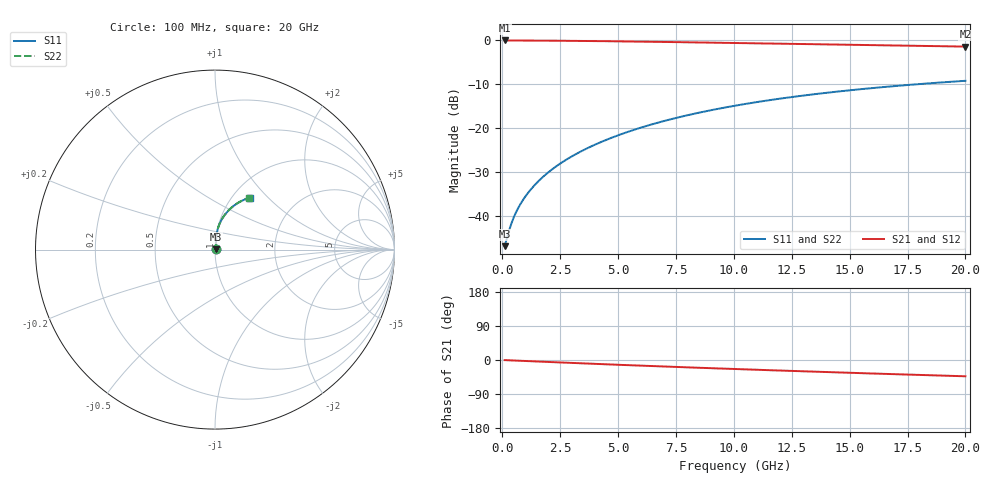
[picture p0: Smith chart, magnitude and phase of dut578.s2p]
! Touchstone file exported from HFSS 2024.1.0
!  File:  C:/UserFiles/LocalFiles/RDL_TSV_Batchsim/temp_RDL_top_578_1779681977.aedt
!  Generated:  12:08:36 PM May 25, 2026
!  Design:  RDL_top
!  Project:  temp_RDL_top_578_1779681977
!  Setup:  Setup1
!  Solution:  Sweep
! Variables:
!  dtsv = 10.80580581um
!  hbump = 3um
!  htsv = 51.75um
!  ldown = 100um
!  lrdl = 647.53um
!  p = 40
!  p1 = 44.67um
!  rhole = 1um
!  t = 450um
!  tdown = 3.915915916um
!  trdl = 2.45um
!  wdown = 15.38538539um
!  wrdl = 23.91um
# GHz S MA R 50.000000
! Terminal data exported
! Port[1] = Box2_T1
! Port[2] = Box2_T2
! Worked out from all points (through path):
!   200 points, 100 MHz to 20 GHz, reference 50 ohm
!   highest |S21| = -0.04 dB at 100 MHz (marker M1); lowest = -1.4 dB at 20 GHz (marker M2)
!   group delay of S21, straight-line fit = 5.92 ps
!   lowest |S11| = -46.8 dB at 100 MHz (marker M3), VSWR 1.01, Z = 50.4 + j0.185 ohm
!   |S11| at or under -10 dB: start of sweep to 17.88 GHz
!   |S22| runs from -46.8 to -9.2 dB; largest |S21 - S12| = 4.5e-15
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0.1  0.004581 23.6  0.9958 -0.3  0.9958 -0.3  0.004581 23.6
! Gamma 0 0 0 0
! Port Impedance 50 0 50 0
0.3  0.006989 49.3  0.9953 -0.8  0.9953 -0.8  0.006989 49.3
0.4  0.008394 55.5  0.9951 -1.1  0.9951 -1.1  0.008394 55.5
0.6  0.01121 63.0  0.9945 -1.6  0.9945 -1.6  0.01121 63.0
0.7  0.01261 65.6  0.9943 -1.9  0.9943 -1.9  0.01261 65.6
0.9  0.01544 69.6  0.9937 -2.4  0.9937 -2.4  0.01544 69.6
1.2  0.01975 73.8  0.993 -3.2  0.993 -3.2  0.01975 73.8
1.4  0.02269 75.9  0.9924 -3.7  0.9924 -3.7  0.02269 75.9
1.7  0.0272 78.2  0.9914 -4.4  0.9914 -4.4  0.0272 78.2
2.2  0.03496 80.8  0.9895 -5.7  0.9895 -5.7  0.03496 80.8
2.8  0.04464 82.7  0.9868 -7.2  0.9868 -7.2  0.04465 82.7
3.5  0.05643 83.8  0.983 -9.0  0.983 -9.0  0.05645 83.9
4.2  0.06871 84.2  0.9786 -10.7  0.9786 -10.7  0.06874 84.3
5  0.08326 84.1  0.9731 -12.6  0.9731 -12.6  0.08331 84.1
5.9  0.1002 83.4  0.9663 -14.7  0.9663 -14.7  0.1002 83.4
6.8  0.1175 82.3  0.9592 -16.8  0.9592 -16.8  0.1176 82.3
8.4  0.1487 79.7  0.946 -20.3  0.946 -20.3  0.1488 79.7
10.1  0.1816 76.4  0.9316 -23.9  0.9316 -23.9  0.1818 76.4
11.7  0.2119 73.1  0.9179 -27.2  0.9179 -27.2  0.2121 73.1
13.4  0.2428 69.5  0.9034 -30.6  0.9034 -30.6  0.243 69.6
16.7  0.2981 62.7  0.8754 -37.0  0.8754 -37.0  0.2984 62.8
20  0.3467 56.3  0.8482 -43.0  0.8482 -43.0  0.3471 56.4
